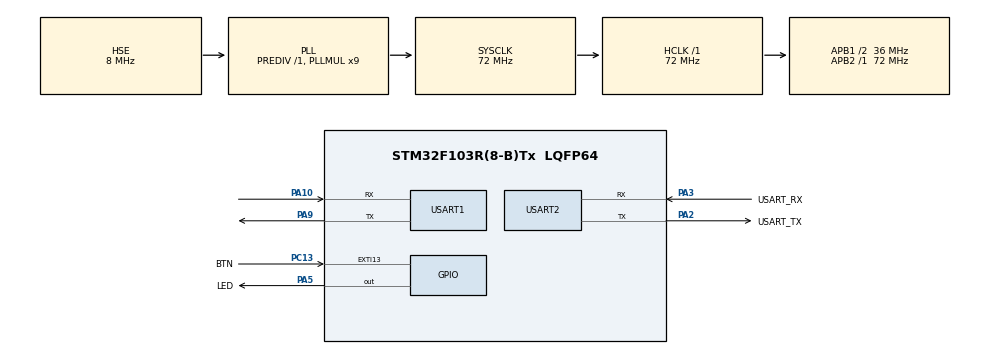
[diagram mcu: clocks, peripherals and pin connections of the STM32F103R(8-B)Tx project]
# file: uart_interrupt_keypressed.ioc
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Mcu.Family=STM32F1
Mcu.Name=STM32F103R(8-B)Tx
Mcu.Package=LQFP64
NVIC.EXTI15_10_IRQn=true\:0\:0\:false\:false\:true\:true\:true\:true
NVIC.PriorityGroup=NVIC_PRIORITYGROUP_4
NVIC.USART1_IRQn=true\:0\:0\:false\:false\:true\:true\:true\:true
PA10.Mode=Asynchronous
PA10.Signal=USART1_RX
PA13.GPIO_Label=TMS
PA13.Mode=Serial_Wire
PA13.Signal=SYS_JTMS-SWDIO
PA14.GPIO_Label=TCK
PA14.Mode=Serial_Wire
PA14.Signal=SYS_JTCK-SWCLK
PA2.GPIO_Label=USART_TX
PA2.GPIO_Mode=GPIO_MODE_AF_PP
PA2.GPIO_PuPd=GPIO_NOPULL
PA2.GPIO_Speed=GPIO_SPEED_FREQ_LOW
PA2.Mode=Asynchronous
PA2.Signal=USART2_TX
PA3.GPIO_Label=USART_RX
PA3.GPIO_Mode=GPIO_MODE_AF_PP
PA3.GPIO_PuPd=GPIO_NOPULL
PA3.GPIO_Speed=GPIO_SPEED_FREQ_LOW
PA3.Mode=Asynchronous
PA3.Signal=USART2_RX
PA5.GPIO_Label=LED
PA5.GPIO_ModeDefaultOutputPP=GPIO_MODE_OUTPUT_PP
PA5.GPIO_PuPd=GPIO_NOPULL
PA5.GPIO_Speed=GPIO_SPEED_FREQ_LOW
PA5.Signal=GPIO_Output
PA9.Mode=Asynchronous
PA9.Signal=USART1_TX
PB3.GPIO_Label=SWO
PB3.Signal=SYS_JTDO-TRACESWO
PC13-TAMPER-RTC.GPIO_Label=BTN
PC13-TAMPER-RTC.GPIO_PuPd=GPIO_NOPULL
PC13-TAMPER-RTC.Signal=GPXTI13
PC14-OSC32_IN.Signal=RCC_OSC32_IN
PC15-OSC32_OUT.Signal=RCC_OSC32_OUT
PD0-OSC_IN.Mode=HSE-External-Oscillator
PD0-OSC_IN.Signal=RCC_OSC_IN
PD1-OSC_OUT.Mode=HSE-External-Oscillator
PD1-OSC_OUT.Signal=RCC_OSC_OUT
ProjectManager.HeapSize=0x200
ProjectManager.StackSize=0x400
ProjectManager.TargetToolchain=STM32CubeIDE
RCC.AHBFreq_Value=72000000
RCC.APB1CLKDivider=RCC_HCLK_DIV2
RCC.APB1Freq_Value=36000000
RCC.APB1TimFreq_Value=72000000
RCC.APB2Freq_Value=72000000
RCC.APB2TimFreq_Value=72000000
RCC.HCLKFreq_Value=72000000
RCC.PLLMUL=RCC_PLL_MUL9
RCC.PLLSourceVirtual=RCC_PLLSOURCE_HSE
RCC.RTCClockSelection=RCC_RTCCLKSOURCE_LSE
RCC.SYSCLKFreq_VALUE=72000000
RCC.SYSCLKSource=RCC_SYSCLKSOURCE_PLLCLK
RCC.USBFreq_Value=72000000
USART1.VirtualMode=VM_ASYNC
USART2.VirtualMode=VM_ASYNC
board=NUCLEO-F103RB

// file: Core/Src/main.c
/* USER CODE BEGIN Header */
/**
  ******************************************************************************
  * @file           : main.c
  * @brief          : Main program body
  ******************************************************************************
  * @attention
  *
  * Copyright (c) 2025 STMicroelectronics.
  * All rights reserved.
  *
  * This software is licensed under terms that can be found in the LICENSE file
  * in the root directory of this software component.
  * If no LICENSE file comes with this software, it is provided AS-IS.
  *
  ******************************************************************************
  */
/* USER CODE END Header */
#include "main.h"
#include <stdio.h>
#include <unistd.h>

UART_HandleTypeDef huart1;
UART_HandleTypeDef huart2;

/* USER CODE BEGIN PV */
uint8_t rx_data;
/* USER CODE END PV */

void SystemClock_Config(void);
static void MX_GPIO_Init(void);
static void MX_USART2_UART_Init(void);
static void MX_USART1_UART_Init(void);
/* USER CODE BEGIN PFP */
int _write(int file, char *ptr, int len)
{
  if (file == STDOUT_FILENO || file == STDERR_FILENO)
  {
	  HAL_UART_Transmit(&huart1, (uint8_t*)ptr, len, HAL_MAX_DELAY);
	  return len;
  }
  return -1;

}

void print_cmd(void)
{
	printf("--------------\r\n%s\r\n%s\r\n--------------\r\nEnter Command:\r\n",
			"Odd number: LED On",
			"Even number: LED Off");
}

/* USER CODE END PFP */

int main(void)
{

  /* MCU Configuration--------------------------------------------------------*/

  /* Reset of all peripherals, Initializes the Flash interface and the Systick. */
  HAL_Init();

  /* Configure the system clock */
  SystemClock_Config();

  /* Initialize all configured peripherals */
  MX_GPIO_Init();
  MX_USART2_UART_Init();
  MX_USART1_UART_Init();
  /* USER CODE BEGIN 2 */
  HAL_UART_Receive_IT(&huart1, &rx_data, 1);

  print_cmd();
  /* USER CODE END 2 */

  /* Infinite loop */
  while (1)
  {
	  HAL_Delay(1000);
  }
}

void SystemClock_Config(void)
{
  RCC_OscInitTypeDef RCC_OscInitStruct = {0};
  RCC_ClkInitTypeDef RCC_ClkInitStruct = {0};

  /** Initializes the RCC Oscillators according to the specified parameters
  * in the RCC_OscInitTypeDef structure.
  */
  RCC_OscInitStruct.OscillatorType = RCC_OSCILLATORTYPE_HSE;
  RCC_OscInitStruct.HSEState = RCC_HSE_ON;
  RCC_OscInitStruct.HSEPredivValue = RCC_HSE_PREDIV_DIV1;
  RCC_OscInitStruct.HSIState = RCC_HSI_ON;
  RCC_OscInitStruct.PLL.PLLState = RCC_PLL_ON;
  RCC_OscInitStruct.PLL.PLLSource = RCC_PLLSOURCE_HSE;
  RCC_OscInitStruct.PLL.PLLMUL = RCC_PLL_MUL9;
  if (HAL_RCC_OscConfig(&RCC_OscInitStruct) != HAL_OK)
  {
    Error_Handler();
  }

  /** Initializes the CPU, AHB and APB buses clocks
  */
  RCC_ClkInitStruct.ClockType = RCC_CLOCKTYPE_HCLK|RCC_CLOCKTYPE_SYSCLK
                              |RCC_CLOCKTYPE_PCLK1|RCC_CLOCKTYPE_PCLK2;
  RCC_ClkInitStruct.SYSCLKSource = RCC_SYSCLKSOURCE_PLLCLK;
  RCC_ClkInitStruct.AHBCLKDivider = RCC_SYSCLK_DIV1;
  RCC_ClkInitStruct.APB1CLKDivider = RCC_HCLK_DIV2;
  RCC_ClkInitStruct.APB2CLKDivider = RCC_HCLK_DIV1;

  if (HAL_RCC_ClockConfig(&RCC_ClkInitStruct, FLASH_LATENCY_2) != HAL_OK)
  {
    Error_Handler();
  }
}

static void MX_USART1_UART_Init(void)
{

  huart1.Instance = USART1;
  huart1.Init.BaudRate = 115200;
  huart1.Init.WordLength = UART_WORDLENGTH_8B;
  huart1.Init.StopBits = UART_STOPBITS_1;
  huart1.Init.Parity = UART_PARITY_NONE;
  huart1.Init.Mode = UART_MODE_TX_RX;
  huart1.Init.HwFlowCtl = UART_HWCONTROL_NONE;
  huart1.Init.OverSampling = UART_OVERSAMPLING_16;
  if (HAL_UART_Init(&huart1) != HAL_OK)
  {
    Error_Handler();
  }
  /* USER CODE BEGIN USART1_Init 2 */
  HAL_NVIC_SetPriority(USART1_IRQn, 1, 0);
  HAL_NVIC_EnableIRQ(USART1_IRQn);
  /* USER CODE END USART1_Init 2 */

}

static void MX_USART2_UART_Init(void)
{

  huart2.Instance = USART2;
  huart2.Init.BaudRate = 115200;
  huart2.Init.WordLength = UART_WORDLENGTH_8B;
  huart2.Init.StopBits = UART_STOPBITS_1;
  huart2.Init.Parity = UART_PARITY_NONE;
  huart2.Init.Mode = UART_MODE_TX_RX;
  huart2.Init.HwFlowCtl = UART_HWCONTROL_NONE;
  huart2.Init.OverSampling = UART_OVERSAMPLING_16;
  if (HAL_UART_Init(&huart2) != HAL_OK)
  {
    Error_Handler();
  }

}

static void MX_GPIO_Init(void)
{
  GPIO_InitTypeDef GPIO_InitStruct = {0};

  /* GPIO Ports Clock Enable */
  __HAL_RCC_GPIOC_CLK_ENABLE();
  __HAL_RCC_GPIOD_CLK_ENABLE();
  __HAL_RCC_GPIOA_CLK_ENABLE();
  __HAL_RCC_GPIOB_CLK_ENABLE();

  /*Configure GPIO pin Output Level */
  HAL_GPIO_WritePin(LED_GPIO_Port, LED_Pin, GPIO_PIN_RESET);

  /*Configure GPIO pin : BTN_Pin */
  GPIO_InitStruct.Pin = BTN_Pin;
  GPIO_InitStruct.Mode = GPIO_MODE_IT_RISING;
  GPIO_InitStruct.Pull = GPIO_NOPULL;
  HAL_GPIO_Init(BTN_GPIO_Port, &GPIO_InitStruct);

  /*Configure GPIO pin : LED_Pin */
  GPIO_InitStruct.Pin = LED_Pin;
  GPIO_InitStruct.Mode = GPIO_MODE_OUTPUT_PP;
  GPIO_InitStruct.Pull = GPIO_NOPULL;
  GPIO_InitStruct.Speed = GPIO_SPEED_FREQ_LOW;
  HAL_GPIO_Init(LED_GPIO_Port, &GPIO_InitStruct);

  /* EXTI interrupt init*/
  HAL_NVIC_SetPriority(EXTI15_10_IRQn, 0, 0);
  HAL_NVIC_EnableIRQ(EXTI15_10_IRQn);

}

/* USER CODE BEGIN 4 */
void HAL_GPIO_EXTI_Callback(uint16_t GPIO_Pin)
{
	if (GPIO_Pin == BTN_Pin)
	{
		printf("Button Pressed\r\n");
	}
}

void HAL_UART_RxCpltCallback(UART_HandleTypeDef *huart)
{
	if (huart->Instance == USART1)
	{
		if (rx_data >= '0' && rx_data <= '9')
		{
			uint8_t num = rx_data - '0';
			if (num % 2 == 1)
			{
				HAL_GPIO_WritePin(LED_GPIO_Port, LED_Pin, GPIO_PIN_SET);
				printf("LED ON execute\r\n");
			}
			else
			{
				HAL_GPIO_WritePin(LED_GPIO_Port, LED_Pin, GPIO_PIN_RESET);
				printf("LED OFF execute\r\n");
			}

		}

		HAL_UART_Receive_IT(&huart1, &rx_data, 1);
		print_cmd();

	}
}
/* USER CODE END 4 */

void Error_Handler(void)
{
  __disable_irq();
  while (1)
  {
  }
}
